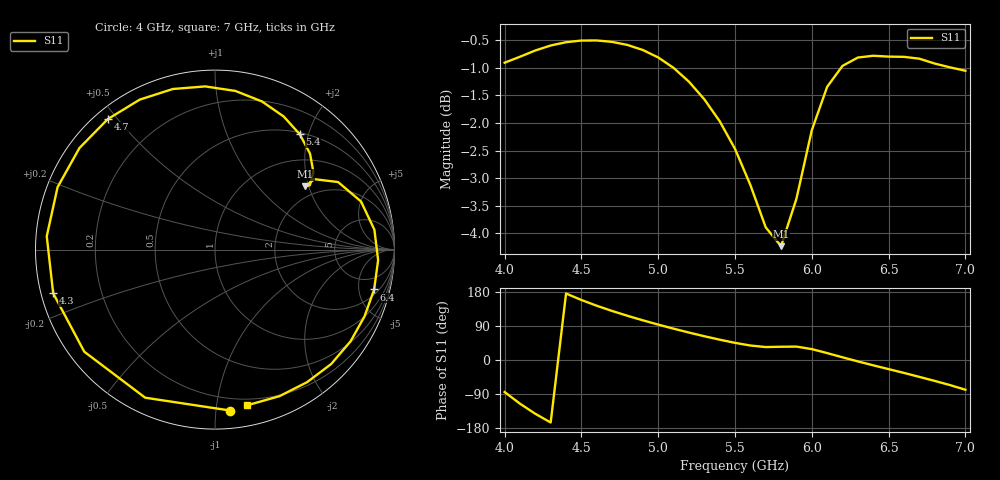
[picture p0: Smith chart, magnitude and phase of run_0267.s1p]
! Touchstone file exported from HFSS 2024.2.0
!  File:  C:/Users/wsak9/Desktop/Sim Fast/Widenad Patch/WP_AI_V1_sweep.aedt
!  Generated:  02:13:57 AM Oct 14, 2026
!  Design:  A1_model
!  Project:  WP_AI_V1_sweep
!  Setup:  Setup1
!  Solution:  Sweep
! Variables:
!  Air_gap = 3.2mm
!  Curve_Amp1 = 1.43
!  Curve_len1 = 1
!  Curve_pos = 10.475mm
!  Extra = 0.97mm
!  H_sub = 0.79mm
!  L_Patch = 16.95mm
!  L_Patch1 = 16.13mm
!  Sx = 4.03mm
!  Sy = 4.22mm
!  WS = 0.22mm
!  W_Patch = 13.44mm
!  W_Patch1 = 15.16mm
!Data is not renormalized
# GHz S MA
! Terminal data exported
! Port[1] = 1
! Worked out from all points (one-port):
!   31 points, 4 GHz to 7 GHz, reference per port
!   lowest |S11| = -4.2 dB at 5.8 GHz (marker M1), VSWR 4.18
!   |S11| at or under -10 dB: nowhere
!   S11 on the Smith chart (normalised r, x): 4 GHz: 0.11, -1.09; 4.3 GHz: 0.03, -0.13; 4.7 GHz: 0.04, +0.47; 5.4 GHz: 0.53, +1.86; 6.4 GHz: 2.64, -7.14; 7 GHz: 0.15, -1.21
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4  0.9009 -84.5
4.1  0.9122 -115.2
4.2  0.9242 -142.0
4.3  0.9339 -164.9
4.4  0.9403 175.5
4.5  0.9436 158.3
4.6  0.9438 143.1
4.7  0.941 129.4
4.8  0.9349 116.6
4.9  0.9251 104.7
5  0.9108 93.4
5.1  0.8913 82.7
5.2  0.8659 72.4
5.4  0.7973 53.6
5.5  0.7525 45.3
5.6  0.6979 38.2
5.7  0.6387 34.2
5.8  0.6141 35.0
5.9  0.6781 35.4
6  0.7823 28.8
6.1  0.8566 18.2
6.2  0.895 7.1
6.3  0.9107 -3.7
6.4  0.9141 -14.1
6.6  0.912 -34.1
6.7  0.9085 -44.5
6.9  0.8922 -66.2
7  0.8859 -78.5
